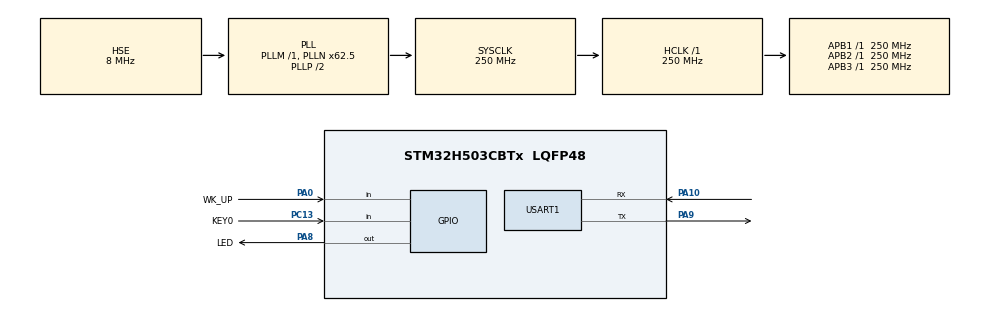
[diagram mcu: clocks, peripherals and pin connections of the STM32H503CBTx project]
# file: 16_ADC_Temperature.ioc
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ADC1.Channel-1\#ChannelRegularConversion=ADC_CHANNEL_TEMPSENSOR
ADC1.MonitoredBy-1\#ChannelRegularConversion=__NULL
ADC1.NbrOfConversionFlag=1
ADC1.OffsetNumber-1\#ChannelRegularConversion=ADC_OFFSET_NONE
ADC1.Rank-1\#ChannelRegularConversion=1
ADC1.SamplingTime-1\#ChannelRegularConversion=ADC_SAMPLETIME_2CYCLES_5
ADC1.master=1
BOOTPATH.BootPathName=LEGACY
BOOTPATH.UserSelectedBootPath=LEGACY
Mcu.Family=STM32H5
Mcu.Name=STM32H503CBTx
Mcu.Package=LQFP48
NVIC.PriorityGroup=NVIC_PRIORITYGROUP_2
NVIC.USART1_IRQn=true\:2\:2\:true\:false\:true\:true\:true\:true
PA0.GPIO_Label=WK_UP
PA0.GPIO_PuPd=GPIO_PULLDOWN
PA0.Signal=GPIO_Input
PA10.GPIO_ModeDefaultPP=GPIO_MODE_AF_PP
PA10.GPIO_Speed=GPIO_SPEED_FREQ_LOW
PA10.Mode=Asynchronous
PA10.Signal=USART1_RX
PA8.GPIO_Label=LED
PA8.GPIO_ModeDefaultOutputPP=GPIO_MODE_OUTPUT_PP
PA8.GPIO_PuPd=GPIO_PULLUP
PA8.PinState=GPIO_PIN_SET
PA8.Signal=GPIO_Output
PA9.GPIO_Speed=GPIO_SPEED_FREQ_HIGH
PA9.Mode=Asynchronous
PA9.Signal=USART1_TX
PC13.GPIO_Label=KEY0
PC13.GPIO_PuPd=GPIO_PULLDOWN
PC13.Signal=GPIO_Input
PC14-OSC32_IN(OSC32_IN).Mode=LSE-External-Oscillator
PC14-OSC32_IN(OSC32_IN).Signal=RCC_OSC32_IN
PC15-OSC32_OUT(OSC32_OUT).Mode=LSE-External-Oscillator
PC15-OSC32_OUT(OSC32_OUT).Signal=RCC_OSC32_OUT
PH0-OSC_IN(PH0).Mode=HSE-External-Oscillator
PH0-OSC_IN(PH0).Signal=RCC_OSC_IN
PH1-OSC_OUT(PH1).Mode=HSE-External-Oscillator
PH1-OSC_OUT(PH1).Signal=RCC_OSC_OUT
ProjectManager.HeapSize=0x200
ProjectManager.StackSize=0x400
ProjectManager.TargetToolchain=STM32CubeIDE
RCC.ADCFreq_Value=250000000
RCC.AHBFreq_Value=250000000
RCC.APB1Freq_Value=250000000
RCC.APB1TimFreq_Value=250000000
RCC.APB2Freq_Value=250000000
RCC.APB2TimFreq_Value=250000000
RCC.APB3Freq_Value=250000000
RCC.CSI_VALUE=4000000
RCC.CortexFreq_Value=250000000
RCC.EPOD_VALUE=8000000
RCC.HCLKFreq_Value=250000000
RCC.HSE_VALUE=8000000
RCC.HSI48_VALUE=48000000
RCC.HSI_VALUE=64000000
RCC.LSIRC_VALUE=32000
RCC.PLL2Q=20
RCC.PLLFRACN=4096
RCC.PLLN=62
RCC.PLLSourceVirtual=RCC_PLL1_SOURCE_HSE
RCC.PREFETCH_ENABLE=1
RCC.SYSCLKFreq_VALUE=250000000
RCC.SYSCLKSource=RCC_SYSCLKSOURCE_PLLCLK
RCC.USBFreq_Value=48000000
RCC.VCOOutputFreq_Value=500000000
USART1.VirtualMode=VM_ASYNC
VP_ADC1_TempSens_Input.Mode=IN-TempSens
VP_BOOTPATH_VS_BOOTPATH.Mode=BP_Activate
VP_ICACHE_VS_ICACHE.Mode=DefaultMode
VP_MEMORYMAP_VS_MEMORYMAP.Mode=CurAppReg
VP_PWR_VS_DBSignals.Mode=DisableDeadBatterySignals
VP_PWR_VS_LPOM.Mode=PowerOptimisation
VP_PWR_VS_SECSignals.Mode=Security/Privilege
board=custom

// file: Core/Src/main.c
/**
 ****************************************************************************************************
 * @file        main.c
 * @author      ALIENTEK
 * @brief       Internal temperature sensor experiments code
 * @license     Copyright (C) 2012-2024, ALIENTEK
 ****************************************************************************************************
 * @attention
 *
 * platform     : ALIENTEK M48-STM32H503 board
 * website      : www.alientek.com
 * forum        : www.openedv.com/forum.php
 *
 * change logs  ：
 * version      data         notes
 * V1.0         20240309     the first version
 *
 ****************************************************************************************************
 */

/* USER CODE BEGIN Header */

/* USER CODE END Header */
#include "main.h"
#include "adc.h"
#include "icache.h"
#include "memorymap.h"
#include "usart.h"
#include "gpio.h"

/* USER CODE BEGIN Includes */
#include "../../BSP/LED/led.h"
#include "../../BSP/KEY/key.h"
/* USER CODE END Includes */

void SystemClock_Config(void);

/* USER CODE BEGIN 0 */
/**
 * @brief   Displays information about the experiment
 * @param   None
 * @retval  None
 */
void stm32h503cb_show_mesg(void)
{
	/* The serial port outputs the experimental information */
	printf("\n");
	printf("********************************\r\n");
	printf("STM32H503\r\n");
	printf("Temperature Test\r\n");
	printf("ATOM@ALIENTEK\r\n");
	printf("********************************\r\n");
	printf("\r\n");
}
/* USER CODE END 0 */

int main(void)
{
  /* USER CODE BEGIN 1 */
  int16_t temperature;
  /* USER CODE END 1 */

  /* MCU Configuration--------------------------------------------------------*/

  /* Reset of all peripherals, Initializes the Flash interface and the Systick. */
  HAL_Init();

  /* Configure the system clock */
  SystemClock_Config();

  /* Initialize all configured peripherals */
  MX_GPIO_Init();
  MX_ICACHE_Init();
  MX_USART1_UART_Init();
  MX_ADC1_Init();
  /* USER CODE BEGIN 2 */
  stm32h503cb_show_mesg();
  /* USER CODE END 2 */

  /* Infinite loop */
  /* USER CODE BEGIN WHILE */
  while (1)
  {
	  temperature = adc_get_temperature();  /* Get the internal temperature sensor temperature value */

	  if (temperature < 0)                  /* If the temperature is negative, a negative sign is displayed */
	  {
	     temperature = -temperature;
	  }

	  printf("Temperature:%d.%d degree centigrade\r\n", temperature / 1000, temperature % 1000);

	  LED_TOGGLE();
	  HAL_Delay(500);   /* delay 500ms */

    /* USER CODE END WHILE */

  }
}

void SystemClock_Config(void)
{
  RCC_OscInitTypeDef RCC_OscInitStruct = {0};
  RCC_ClkInitTypeDef RCC_ClkInitStruct = {0};

  /** Configure the main internal regulator output voltage
  */
  __HAL_PWR_VOLTAGESCALING_CONFIG(PWR_REGULATOR_VOLTAGE_SCALE0);

  while(!__HAL_PWR_GET_FLAG(PWR_FLAG_VOSRDY)) {}

  /** Initializes the RCC Oscillators according to the specified parameters
  * in the RCC_OscInitTypeDef structure.
  */
  RCC_OscInitStruct.OscillatorType = RCC_OSCILLATORTYPE_HSE;
  RCC_OscInitStruct.HSEState = RCC_HSE_ON;
  RCC_OscInitStruct.PLL.PLLState = RCC_PLL_ON;
  RCC_OscInitStruct.PLL.PLLSource = RCC_PLL1_SOURCE_HSE;
  RCC_OscInitStruct.PLL.PLLM = 1;
  RCC_OscInitStruct.PLL.PLLN = 62;
  RCC_OscInitStruct.PLL.PLLP = 2;
  RCC_OscInitStruct.PLL.PLLQ = 2;
  RCC_OscInitStruct.PLL.PLLR = 2;
  RCC_OscInitStruct.PLL.PLLRGE = RCC_PLL1_VCIRANGE_3;
  RCC_OscInitStruct.PLL.PLLVCOSEL = RCC_PLL1_VCORANGE_WIDE;
  RCC_OscInitStruct.PLL.PLLFRACN = 4096;
  if (HAL_RCC_OscConfig(&RCC_OscInitStruct) != HAL_OK)
  {
    Error_Handler();
  }

  /** Initializes the CPU, AHB and APB buses clocks
  */
  RCC_ClkInitStruct.ClockType = RCC_CLOCKTYPE_HCLK|RCC_CLOCKTYPE_SYSCLK
                              |RCC_CLOCKTYPE_PCLK1|RCC_CLOCKTYPE_PCLK2
                              |RCC_CLOCKTYPE_PCLK3;
  RCC_ClkInitStruct.SYSCLKSource = RCC_SYSCLKSOURCE_PLLCLK;
  RCC_ClkInitStruct.AHBCLKDivider = RCC_SYSCLK_DIV1;
  RCC_ClkInitStruct.APB1CLKDivider = RCC_HCLK_DIV1;
  RCC_ClkInitStruct.APB2CLKDivider = RCC_HCLK_DIV1;
  RCC_ClkInitStruct.APB3CLKDivider = RCC_HCLK_DIV1;

  if (HAL_RCC_ClockConfig(&RCC_ClkInitStruct, FLASH_LATENCY_5) != HAL_OK)
  {
    Error_Handler();
  }
}

void Error_Handler(void)
{
  __disable_irq();
  while (1)
  {
  }
}
